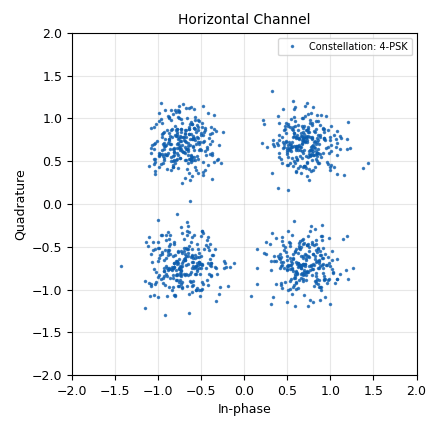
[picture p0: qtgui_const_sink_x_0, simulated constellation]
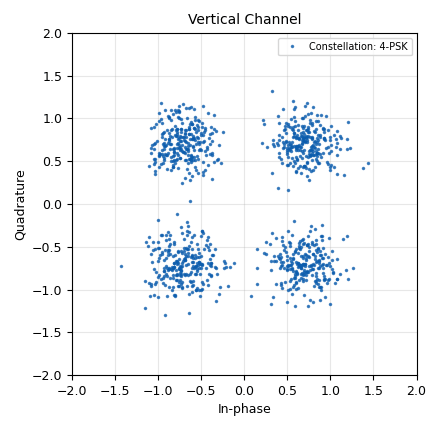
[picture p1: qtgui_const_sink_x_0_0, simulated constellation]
<?xml version='1.0' encoding='utf-8'?>
<?grc format='1' created='3.7.11'?>
<flow_graph>
<block>
<key>options</key>
<param><key>id</key><value>ber_simulation</value></param>
<param><key>author</key><value>Example</value></param>
<param><key>category</key><value>Custom</value></param>
<param><key>description</key><value>Adjust the noise and constellation... see what happens!</value></param>
<param><key>generate_options</key><value>qt_gui</value></param>
<param><key>title</key><value>BER Simulation</value></param>
</block>
<block>
<key>variable_qtgui_range</key>
<param><key>id</key><value>EbN0</value></param>
<param><key>value</key><value>10</value></param>
<param><key>label</key><value>Eb / N0 (dB)</value></param>
<param><key>orient</key><value>Qt.Horizontal</value></param>
<param><key>start</key><value>-10</value></param>
<param><key>step</key><value>1</value></param>
<param><key>stop</key><value>200</value></param>
</block>
<block>
<key>variable</key>
<param><key>id</key><value>const</value></param>
<param><key>value</key><value>(digital.constellation_bpsk(), digital.constellation_qpsk(), digital.constellation_8psk())</value></param>
</block>
<block>
<key>variable</key>
<param><key>id</key><value>const_type</value></param>
<param><key>value</key><value>1</value></param>
</block>
<block>
<key>variable</key>
<param><key>id</key><value>freq</value></param>
<param><key>value</key><value>1e3</value></param>
</block>
<block>
<key>variable_qtgui_range</key>
<param><key>id</key><value>offset</value></param>
<param><key>value</key><value>math.pi/4</value></param>
<param><key>label</key><value>Offset</value></param>
<param><key>min_len</key><value>20</value></param>
<param><key>orient</key><value>Qt.Horizontal</value></param>
<param><key>start</key><value>0</value></param>
<param><key>step</key><value>math.pi/20</value></param>
<param><key>stop</key><value>math.pi/2</value></param>
<param><key>widget</key><value>dial</value></param>
</block>
<block>
<key>variable</key>
<param><key>id</key><value>samp_rate</value></param>
<param><key>value</key><value>100e3</value></param>
</block>
<block>
<key>variable</key>
<param><key>id</key><value>samp_rate_0</value></param>
<param><key>value</key><value>32000</value></param>
</block>
<block>
<key>variable</key>
<param><key>id</key><value>tx_amp</value></param>
<param><key>value</key><value>10</value></param>
</block>
<block>
<key>variable_qtgui_label</key>
<param><key>id</key><value>variable_qtgui_label_0</value></param>
<param><key>value</key><value>{0: 'BPSK', 1: 'QPSK', 2: '8-PSK'}[const_type] + " - Change const_type for different constellation types!"</value></param>
<param><key>label</key><value>Constellation Type</value></param>
<param><key>type</key><value>string</value></param>
</block>
<block>
<key>Maximal_Combining</key>
<param><key>id</key><value>Maximal_Combining_0</value></param>
</block>
<block>
<key>analog_noise_source_x</key>
<param><key>id</key><value>analog_noise_source_x</value></param>
<param><key>amp</key><value>1.0 / math.sqrt(2.0 * const[const_type].bits_per_symbol() * 10**(math.cos(offset)*math.cos(offset)*EbN0/10))</value></param>
<param><key>noise_type</key><value>analog.GR_GAUSSIAN</value></param>
<param><key>type</key><value>complex</value></param>
<param><key>seed</key><value>-42</value></param>
</block>
<block>
<key>analog_noise_source_x</key>
<param><key>id</key><value>analog_noise_source_x_0</value></param>
<param><key>amp</key><value>1.0 / math.sqrt(2.0 * const[const_type].bits_per_symbol() * 10**(math.cos(math.pi/2-offset)*math.cos(math.pi/2-offset)*EbN0/10))</value></param>
<param><key>noise_type</key><value>analog.GR_GAUSSIAN</value></param>
<param><key>type</key><value>complex</value></param>
<param><key>seed</key><value>-42</value></param>
</block>
<block>
<key>analog_random_source_x</key>
<param><key>id</key><value>analog_random_source_x</value></param>
<param><key>max</key><value>const[const_type].arity()</value></param>
<param><key>min</key><value>0</value></param>
<param><key>num_samps</key><value>10000000</value></param>
<param><key>type</key><value>byte</value></param>
<param><key>repeat</key><value>True</value></param>
</block>
<block>
<key>blocks_add_xx</key>
<param><key>id</key><value>blocks_add_xx</value></param>
<param><key>type</key><value>complex</value></param>
</block>
<block>
<key>blocks_add_xx</key>
<param><key>id</key><value>blocks_add_xx_0</value></param>
<param><key>type</key><value>complex</value></param>
</block>
<block>
<key>blocks_throttle</key>
<param><key>id</key><value>blocks_throttle</value></param>
<param><key>samples_per_second</key><value>samp_rate</value></param>
<param><key>type</key><value>byte</value></param>
</block>
<block>
<key>digital_chunks_to_symbols_xx</key>
<param><key>id</key><value>digital_chunks_to_symbols_xx</value></param>
<param><key>dimension</key><value>1</value></param>
<param><key>in_type</key><value>byte</value></param>
<param><key>out_type</key><value>complex</value></param>
<param><key>symbol_table</key><value>const[const_type].points()</value></param>
</block>
<block>
<key>digital_constellation_decoder_cb</key>
<param><key>id</key><value>digital_constellation_decoder_cb_0</value></param>
<param><key>constellation</key><value>const[const_type].base()</value></param>
</block>
<block>
<key>digital_constellation_decoder_cb</key>
<param><key>id</key><value>digital_constellation_decoder_cb_0_0</value></param>
<param><key>constellation</key><value>const[const_type].base()</value></param>
</block>
<block>
<key>digital_constellation_decoder_cb</key>
<param><key>id</key><value>digital_constellation_decoder_cb_0_0_0</value></param>
<param><key>constellation</key><value>const[const_type].base()</value></param>
</block>
<block>
<key>import</key>
<param><key>id</key><value>import</value></param>
<param><key>import</key><value>import math</value></param>
</block>
<block>
<key>import</key>
<param><key>id</key><value>import_0</value></param>
<param><key>import</key><value>import math, cmath, numpy</value></param>
</block>
<block>
<key>qtgui_bercurve_sink</key>
<param><key>id</key><value>qtgui_bercurve_sink_0</value></param>
<param><key>berlimit</key><value>-7.0</value></param>
<param><key>berminerrors</key><value>100</value></param>
<param><key>esno</key><value>numpy.arange(0.0, 1.0, .5)</value></param>
</block>
<block>
<key>qtgui_const_sink_x</key>
<param><key>id</key><value>qtgui_const_sink_x_0</value></param>
<param><key>gui_hint</key><value>(2,0,1,1)</value></param>
<param><key>alpha1</key><value>0.6</value></param>
<param><key>label1</key><value>"Constellation: "+str(const[const_type].arity()) + "-PSK"</value></param>
<param><key>name</key><value>"Horizontal Channel"</value></param>
<param><key>size</key><value>1024</value></param>
<param><key>type</key><value>complex</value></param>
</block>
<block>
<key>qtgui_const_sink_x</key>
<param><key>id</key><value>qtgui_const_sink_x_0_0</value></param>
<param><key>gui_hint</key><value>(2,1,1,1)</value></param>
<param><key>alpha1</key><value>0.6</value></param>
<param><key>label1</key><value>"Constellation: "+str(const[const_type].arity()) + "-PSK"</value></param>
<param><key>name</key><value>"Vertical Channel"</value></param>
<param><key>size</key><value>1024</value></param>
<param><key>type</key><value>complex</value></param>
</block>
<block>
<key>qtgui_const_sink_x</key>
<param><key>id</key><value>qtgui_const_sink_x_0_0_0</value></param>
<param><key>gui_hint</key><value>(2,2,1,1)</value></param>
<param><key>alpha1</key><value>0.6</value></param>
<param><key>label1</key><value>"Constellation: "+str(const[const_type].arity()) + "-PSK"</value></param>
<param><key>name</key><value>"Result of Maximal Combining"</value></param>
<param><key>size</key><value>1024</value></param>
<param><key>type</key><value>complex</value></param>
</block>
<connection><source_block_id>Maximal_Combining_0</source_block_id><sink_block_id>digital_constellation_decoder_cb_0_0_0</sink_block_id><source_key>0</source_key><sink_key>0</sink_key></connection>
<connection><source_block_id>Maximal_Combining_0</source_block_id><sink_block_id>qtgui_const_sink_x_0_0_0</sink_block_id><source_key>0</source_key><sink_key>0</sink_key></connection>
<connection><source_block_id>analog_noise_source_x</source_block_id><sink_block_id>blocks_add_xx</sink_block_id><source_key>0</source_key><sink_key>1</sink_key></connection>
<connection><source_block_id>analog_noise_source_x_0</source_block_id><sink_block_id>blocks_add_xx_0</sink_block_id><source_key>0</source_key><sink_key>1</sink_key></connection>
<connection><source_block_id>analog_random_source_x</source_block_id><sink_block_id>blocks_throttle</sink_block_id><source_key>0</source_key><sink_key>0</sink_key></connection>
<connection><source_block_id>analog_random_source_x</source_block_id><sink_block_id>digital_chunks_to_symbols_xx</sink_block_id><source_key>0</source_key><sink_key>0</sink_key></connection>
<connection><source_block_id>blocks_add_xx</source_block_id><sink_block_id>Maximal_Combining_0</sink_block_id><source_key>0</source_key><sink_key>0</sink_key></connection>
<connection><source_block_id>blocks_add_xx</source_block_id><sink_block_id>digital_constellation_decoder_cb_0</sink_block_id><source_key>0</source_key><sink_key>0</sink_key></connection>
<connection><source_block_id>blocks_add_xx</source_block_id><sink_block_id>qtgui_const_sink_x_0</sink_block_id><source_key>0</source_key><sink_key>0</sink_key></connection>
<connection><source_block_id>blocks_add_xx_0</source_block_id><sink_block_id>Maximal_Combining_0</sink_block_id><source_key>0</source_key><sink_key>1</sink_key></connection>
<connection><source_block_id>blocks_add_xx_0</source_block_id><sink_block_id>digital_constellation_decoder_cb_0_0</sink_block_id><source_key>0</source_key><sink_key>0</sink_key></connection>
<connection><source_block_id>blocks_add_xx_0</source_block_id><sink_block_id>qtgui_const_sink_x_0_0</sink_block_id><source_key>0</source_key><sink_key>0</sink_key></connection>
<connection><source_block_id>blocks_throttle</source_block_id><sink_block_id>qtgui_bercurve_sink_0</sink_block_id><source_key>0</source_key><sink_key>0</sink_key></connection>
<connection><source_block_id>digital_chunks_to_symbols_xx</source_block_id><sink_block_id>blocks_add_xx</sink_block_id><source_key>0</source_key><sink_key>0</sink_key></connection>
<connection><source_block_id>digital_chunks_to_symbols_xx</source_block_id><sink_block_id>blocks_add_xx_0</sink_block_id><source_key>0</source_key><sink_key>0</sink_key></connection>
<connection><source_block_id>digital_constellation_decoder_cb_0</source_block_id><sink_block_id>qtgui_bercurve_sink_0</sink_block_id><source_key>0</source_key><sink_key>1</sink_key></connection>
<connection><source_block_id>digital_constellation_decoder_cb_0_0</source_block_id><sink_block_id>qtgui_bercurve_sink_0</sink_block_id><source_key>0</source_key><sink_key>2</sink_key></connection>
<connection><source_block_id>digital_constellation_decoder_cb_0_0_0</source_block_id><sink_block_id>qtgui_bercurve_sink_0</sink_block_id><source_key>0</source_key><sink_key>3</sink_key></connection>
</flow_graph>
